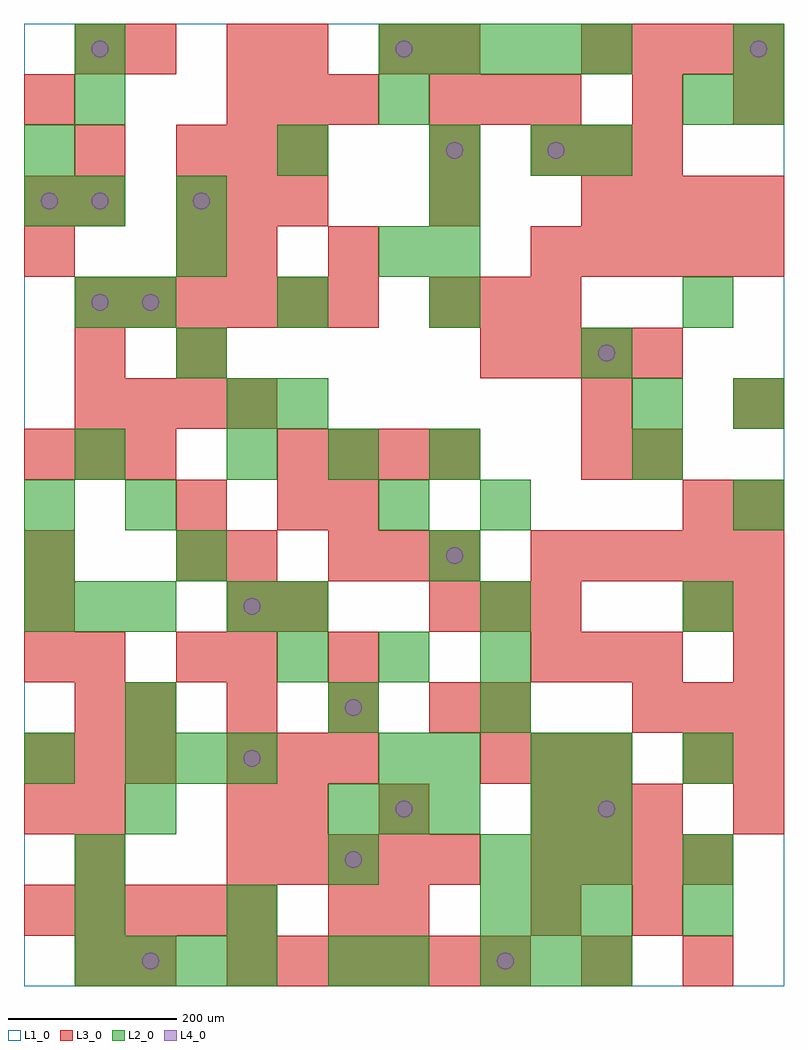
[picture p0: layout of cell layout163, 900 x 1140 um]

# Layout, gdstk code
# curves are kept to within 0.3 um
import gdstk
lib = gdstk.Library(unit=1e-6, precision=1e-09)
def R(c, l, rs):  # rectangles x0, y0, x1, y1
    for r in rs: c.add(gdstk.rectangle(r[:2], r[2:], *l))
def A(c, l, x, y, w, h, nx, ny, dx, dy):  # array of equal rectangles
    R(c, l, [(x+i*dx, y+j*dy, x+i*dx+w, y+j*dy+h) for i in range(nx) for j in range(ny)])
def P(c, l, *ps):  # polygons
    for p in ps: c.add(gdstk.Polygon(p, *l))
L1_0 = (1, 0)
L2_0 = (2, 0)
L3_0 = (3, 0)
L4_0 = (4, 0)

layout163 = lib.new_cell('layout163')
R(layout163, L1_0, [(0,0,900,1140)])
A(layout163, L2_0, 60, 0, 60, 60, 4, 1, 60, 0)
A(layout163, L2_0, 540, 0, 60, 60, 3, 3, 60, 60)
A(layout163, L2_0, 360, 180, 60, 60, 3, 1, 60, 0)
A(layout163, L2_0, 120, 240, 60, 60, 3, 1, 60, 0)
A(layout163, L2_0, 420, 240, 60, 60, 1, 3, 0, 300)
A(layout163, L2_0, 300, 360, 60, 60, 3, 1, 120, 0)
A(layout163, L2_0, 0, 420, 60, 60, 3, 1, 60, 0)
A(layout163, L2_0, 300, 420, 60, 60, 3, 1, 240, 0)
A(layout163, L2_0, 240, 600, 60, 60, 3, 1, 120, 0)
A(layout163, L2_0, 120, 780, 60, 60, 3, 1, 180, 0)
A(layout163, L2_0, 480, 840, 60, 60, 1, 3, 0, 60)
A(layout163, L2_0, 60, 1020, 60, 60, 3, 1, 360, 0)
A(layout163, L2_0, 420, 1080, 60, 60, 5, 1, 60, 0)
R(layout163, L2_0, [(360,0,420,60), (420,0,480,60), (60,60,120,120), (240,60,300,120), (780,60,840,120), (60,120,120,180), (360,120,420,180), (780,120,840,180), (120,180,180,240), (600,180,660,240), (660,180,720,240), (0,240,60,300), (480,240,540,300), (600,240,660,300), (660,240,720,300), (780,240,840,300), (120,300,180,360), (360,300,420,360), (540,300,600,360), (240,420,300,480), (0,480,60,540), (180,480,240,540), (480,480,540,540), (0,540,60,600), (120,540,180,600), (540,540,600,600), (840,540,900,600), (60,600,120,660), (720,600,780,660), (240,660,300,720), (300,660,360,720), (720,660,780,720), (840,660,900,720), (180,720,240,780), (660,720,720,780), (60,780,120,840), (780,780,840,840), (180,840,240,900), (0,900,60,960), (60,900,120,960), (180,900,240,960), (0,960,60,1020), (300,960,360,1020), (600,960,660,1020), (660,960,720,1020), (840,1020,900,1080), (60,1080,120,1140), (840,1080,900,1140)])
A(layout163, L3_0, 240, 0, 60, 60, 6, 1, 60, 0)
A(layout163, L3_0, 0, 60, 60, 60, 5, 1, 60, 0)
A(layout163, L3_0, 240, 120, 60, 60, 5, 1, 60, 0)
A(layout163, L3_0, 600, 120, 60, 60, 4, 1, 60, 0)
A(layout163, L3_0, 600, 180, 60, 60, 3, 2, 60, 180)
A(layout163, L3_0, 0, 240, 60, 60, 3, 2, 60, 360)
A(layout163, L3_0, 240, 240, 60, 60, 3, 2, 60, 780)
A(layout163, L3_0, 540, 240, 60, 60, 3, 1, 60, 0)
A(layout163, L3_0, 120, 300, 60, 60, 4, 1, 120, 0)
A(layout163, L3_0, 720, 300, 60, 60, 3, 1, 60, 0)
A(layout163, L3_0, 0, 360, 60, 60, 1, 3, 0, 60)
A(layout163, L3_0, 240, 360, 60, 60, 1, 3, 0, 60)
A(layout163, L3_0, 480, 420, 60, 60, 3, 2, 60, 360)
A(layout163, L3_0, 840, 420, 60, 60, 1, 3, 0, 120)
A(layout163, L3_0, 360, 480, 60, 60, 3, 1, 60, 0)
A(layout163, L3_0, 600, 480, 60, 60, 5, 2, 60, 360)
A(layout163, L3_0, 300, 600, 60, 60, 4, 1, 60, 0)
A(layout163, L3_0, 60, 660, 60, 60, 4, 1, 60, 0)
A(layout163, L3_0, 540, 720, 60, 60, 4, 1, 60, 0)
A(layout163, L3_0, 60, 780, 60, 60, 6, 1, 60, 0)
A(layout163, L3_0, 180, 900, 60, 60, 3, 2, 60, 60)
A(layout163, L3_0, 660, 900, 60, 60, 4, 2, 60, 180)
A(layout163, L3_0, 600, 960, 60, 60, 3, 1, 60, 0)
A(layout163, L3_0, 480, 1020, 60, 60, 3, 1, 60, 0)
R(layout163, L3_0, [(60,0,120,60), (120,0,180,60), (660,0,720,60), (780,0,840,60), (360,60,420,120), (420,60,480,120), (600,60,660,120), (720,60,780,120), (60,120,120,180), (0,180,60,240), (60,180,120,240), (240,180,300,240), (300,180,360,240), (420,180,480,240), (840,180,900,240), (780,240,840,300), (840,240,900,300), (60,300,120,360), (540,300,600,360), (60,360,120,420), (180,360,240,420), (360,360,420,420), (840,360,900,420), (300,420,360,480), (780,420,840,480), (180,480,240,540), (180,540,240,600), (300,540,360,600), (360,540,420,600), (780,540,840,600), (660,600,720,660), (720,600,780,660), (660,660,720,720), (60,720,120,780), (180,720,240,780), (0,840,60,900), (180,840,240,900), (240,840,300,900), (360,840,420,900), (0,900,60,960), (60,900,120,960), (480,900,540,960), (60,960,120,1020), (480,960,540,1020), (0,1020,60,1080), (720,1020,780,1080), (840,1020,900,1080), (60,1080,120,1140), (120,1080,180,1140), (240,1080,300,1140), (300,1080,360,1140), (420,1080,480,1140), (480,1080,540,1140)])
P(layout163, L4_0, [(40,930),(39.239,933.827),(37.071,937.071),(33.827,939.239),(30,940),(26.173,939.239),(22.929,937.071),(20.761,933.827),(20,930),(20.761,926.173),(22.929,922.929),(26.173,920.761),(30,920),(33.827,920.761),(37.071,922.929),(39.239,926.173)],
  [(100,810),(99.239,813.827),(97.071,817.071),(93.827,819.239),(90,820),(86.173,819.239),(82.929,817.071),(80.761,813.827),(80,810),(80.761,806.173),(82.929,802.929),(86.173,800.761),(90,800),(93.827,800.761),(97.071,802.929),(99.239,806.173)],
  [(100,930),(99.239,933.827),(97.071,937.071),(93.827,939.239),(90,940),(86.173,939.239),(82.929,937.071),(80.761,933.827),(80,930),(80.761,926.173),(82.929,922.929),(86.173,920.761),(90,920),(93.827,920.761),(97.071,922.929),(99.239,926.173)],
  [(100,1110),(99.239,1113.827),(97.071,1117.071),(93.827,1119.239),(90,1120),(86.173,1119.239),(82.929,1117.071),(80.761,1113.827),(80,1110),(80.761,1106.173),(82.929,1102.929),(86.173,1100.761),(90,1100),(93.827,1100.761),(97.071,1102.929),(99.239,1106.173)],
  [(160,30),(159.239,33.827),(157.071,37.071),(153.827,39.239),(150,40),(146.173,39.239),(142.929,37.071),(140.761,33.827),(140,30),(140.761,26.173),(142.929,22.929),(146.173,20.761),(150,20),(153.827,20.761),(157.071,22.929),(159.239,26.173)],
  [(160,810),(159.239,813.827),(157.071,817.071),(153.827,819.239),(150,820),(146.173,819.239),(142.929,817.071),(140.761,813.827),(140,810),(140.761,806.173),(142.929,802.929),(146.173,800.761),(150,800),(153.827,800.761),(157.071,802.929),(159.239,806.173)],
  [(220,930),(219.239,933.827),(217.071,937.071),(213.827,939.239),(210,940),(206.173,939.239),(202.929,937.071),(200.761,933.827),(200,930),(200.761,926.173),(202.929,922.929),(206.173,920.761),(210,920),(213.827,920.761),(217.071,922.929),(219.239,926.173)],
  [(280,270),(279.239,273.827),(277.071,277.071),(273.827,279.239),(270,280),(266.173,279.239),(262.929,277.071),(260.761,273.827),(260,270),(260.761,266.173),(262.929,262.929),(266.173,260.761),(270,260),(273.827,260.761),(277.071,262.929),(279.239,266.173)],
  [(280,450),(279.239,453.827),(277.071,457.071),(273.827,459.239),(270,460),(266.173,459.239),(262.929,457.071),(260.761,453.827),(260,450),(260.761,446.173),(262.929,442.929),(266.173,440.761),(270,440),(273.827,440.761),(277.071,442.929),(279.239,446.173)],
  [(400,150),(399.239,153.827),(397.071,157.071),(393.827,159.239),(390,160),(386.173,159.239),(382.929,157.071),(380.761,153.827),(380,150),(380.761,146.173),(382.929,142.929),(386.173,140.761),(390,140),(393.827,140.761),(397.071,142.929),(399.239,146.173)],
  [(400,330),(399.239,333.827),(397.071,337.071),(393.827,339.239),(390,340),(386.173,339.239),(382.929,337.071),(380.761,333.827),(380,330),(380.761,326.173),(382.929,322.929),(386.173,320.761),(390,320),(393.827,320.761),(397.071,322.929),(399.239,326.173)],
  [(460,210),(459.239,213.827),(457.071,217.071),(453.827,219.239),(450,220),(446.173,219.239),(442.929,217.071),(440.761,213.827),(440,210),(440.761,206.173),(442.929,202.929),(446.173,200.761),(450,200),(453.827,200.761),(457.071,202.929),(459.239,206.173)],
  [(460,1110),(459.239,1113.827),(457.071,1117.071),(453.827,1119.239),(450,1120),(446.173,1119.239),(442.929,1117.071),(440.761,1113.827),(440,1110),(440.761,1106.173),(442.929,1102.929),(446.173,1100.761),(450,1100),(453.827,1100.761),(457.071,1102.929),(459.239,1106.173)],
  [(520,510),(519.239,513.827),(517.071,517.071),(513.827,519.239),(510,520),(506.173,519.239),(502.929,517.071),(500.761,513.827),(500,510),(500.761,506.173),(502.929,502.929),(506.173,500.761),(510,500),(513.827,500.761),(517.071,502.929),(519.239,506.173)],
  [(520,990),(519.239,993.827),(517.071,997.071),(513.827,999.239),(510,1000),(506.173,999.239),(502.929,997.071),(500.761,993.827),(500,990),(500.761,986.173),(502.929,982.929),(506.173,980.761),(510,980),(513.827,980.761),(517.071,982.929),(519.239,986.173)],
  [(580,30),(579.239,33.827),(577.071,37.071),(573.827,39.239),(570,40),(566.173,39.239),(562.929,37.071),(560.761,33.827),(560,30),(560.761,26.173),(562.929,22.929),(566.173,20.761),(570,20),(573.827,20.761),(577.071,22.929),(579.239,26.173)],
  [(640,990),(639.239,993.827),(637.071,997.071),(633.827,999.239),(630,1000),(626.173,999.239),(622.929,997.071),(620.761,993.827),(620,990),(620.761,986.173),(622.929,982.929),(626.173,980.761),(630,980),(633.827,980.761),(637.071,982.929),(639.239,986.173)],
  [(700,210),(699.239,213.827),(697.071,217.071),(693.827,219.239),(690,220),(686.173,219.239),(682.929,217.071),(680.761,213.827),(680,210),(680.761,206.173),(682.929,202.929),(686.173,200.761),(690,200),(693.827,200.761),(697.071,202.929),(699.239,206.173)],
  [(700,750),(699.239,753.827),(697.071,757.071),(693.827,759.239),(690,760),(686.173,759.239),(682.929,757.071),(680.761,753.827),(680,750),(680.761,746.173),(682.929,742.929),(686.173,740.761),(690,740),(693.827,740.761),(697.071,742.929),(699.239,746.173)],
  [(880,1110),(879.239,1113.827),(877.071,1117.071),(873.827,1119.239),(870,1120),(866.173,1119.239),(862.929,1117.071),(860.761,1113.827),(860,1110),(860.761,1106.173),(862.929,1102.929),(866.173,1100.761),(870,1100),(873.827,1100.761),(877.071,1102.929),(879.239,1106.173)])

lib.write_gds('layout163.gds')
